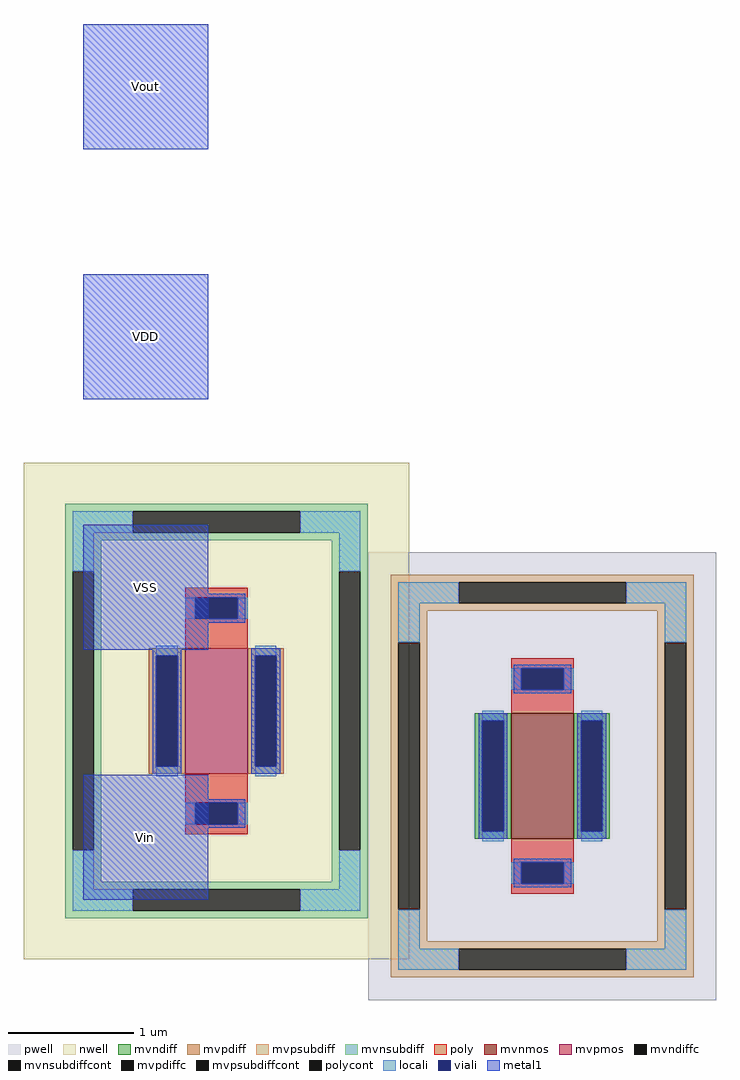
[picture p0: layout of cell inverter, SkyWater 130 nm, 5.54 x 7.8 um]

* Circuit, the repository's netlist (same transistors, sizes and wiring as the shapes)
* Extracted by KLayout with SKY130 LVS runset on : 30/06/2025 15:08

.SUBCKT inverter VSS|Vin sky130_gnd
M$1 \$I4 \$I3 \$I5 sky130_gnd sky130_fd_pr__nfet_g5v0d10v5 L=0.5 W=1 AS=0.29
+ AD=0.29 PS=2.58 PD=2.58
M$2 VSS|Vin VSS|Vin \$I8 \$I6 sky130_fd_pr__pfet_g5v0d10v5 L=0.5 W=1 AS=0.29
+ AD=0.29 PS=2.58 PD=2.58
.ENDS inverter

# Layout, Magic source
magic
tech sky130A
magscale 1 2
<< metal1 >>
rect 0 0 200 200
rect 0 -400 200 -200
rect 0 -800 200 -600
rect 0 -1200 200 -1000
use sky130_fd_pr__nfet_g5v0d10v5_7DHE2Q  XM1
transform 1 0 734 0 1 -1002
box -278 -358 278 358
use sky130_fd_pr__pfet_g5v0d10v5_6HUAKP  XM2
transform 1 0 213 0 1 -898
box -308 -397 308 397
<< labels >>
flabel metal1 0 0 200 200 0 FreeSans 256 0 0 0 Vout
port 0 nsew
flabel metal1 0 -400 200 -200 0 FreeSans 256 0 0 0 VDD
port 1 nsew
flabel metal1 0 -800 200 -600 0 FreeSans 256 0 0 0 VSS
port 2 nsew
flabel metal1 0 -1200 200 -1000 0 FreeSans 256 0 0 0 Vin
port 3 nsew
<< end >>

# cell sky130_fd_pr__nfet_g5v0d10v5_7DHE2Q: kit device sky130_fd_pr__nfet_g5v0d10v5, w 1.0 l 0.5 m 1 nf 1 diffcov 100 polycov 100 guard 1 glc 1 grc 1 gtc 1 gbc 1 tbcov 100 rlcov 100 topc 1 botc 1 poverlap 0 doverlap 1 lmin 0.50 wmin 0.42 class mosfet compatible {sky130_fd_pr__nfet_01v8 sky130_fd_pr__nfet_01v8_lvt sky130_fd_bs_flash__special_sonosfet_star sky130_fd_pr__nfet_g5v0d10v5 sky130_fd_pr__nfet_05v0_nvt sky130_fd_pr__nfet_03v3_nvt} full_metal 1 viasrc 100 viadrn 100 viagate 100 viagb 0 viagr 0 viagl 0 viagt 0

# cell sky130_fd_pr__pfet_g5v0d10v5_6HUAKP: kit device sky130_fd_pr__pfet_g5v0d10v5, w 1.0 l 0.5 m 1 nf 1 diffcov 100 polycov 100 guard 1 glc 1 grc 1 gtc 1 gbc 1 tbcov 100 rlcov 100 topc 1 botc 1 poverlap 0 doverlap 1 lmin 0.50 wmin 0.42 class mosfet compatible {sky130_fd_pr__pfet_01v8 sky130_fd_pr__pfet_01v8_lvt sky130_fd_pr__pfet_01v8_hvt sky130_fd_pr__pfet_g5v0d10v5} full_metal 1 viasrc 100 viadrn 100 viagate 100 viagb 0 viagr 0 viagl 0 viagt 0
